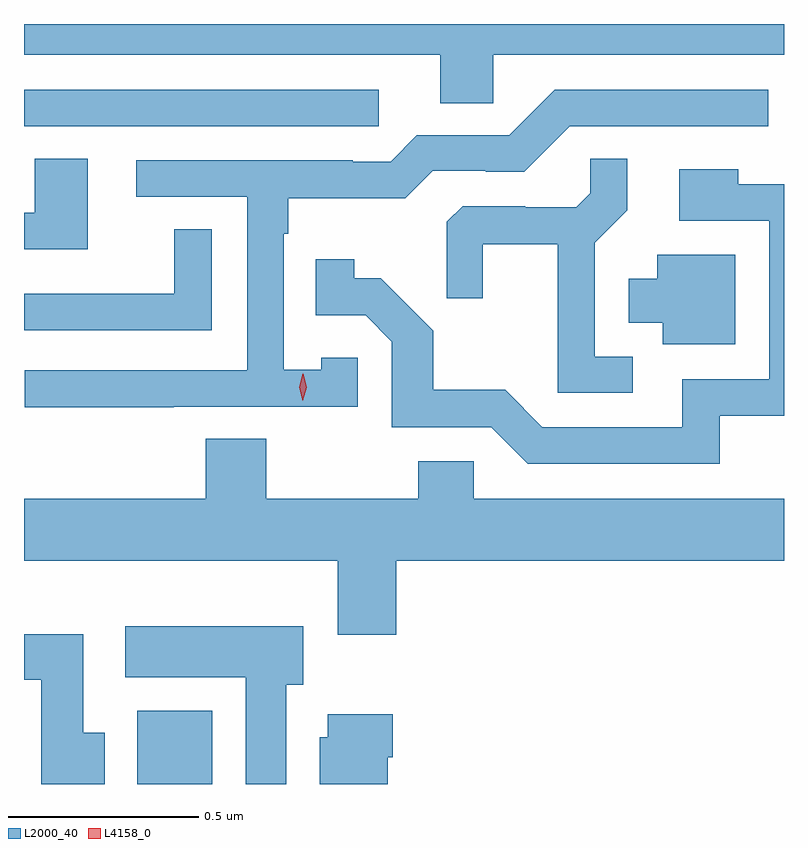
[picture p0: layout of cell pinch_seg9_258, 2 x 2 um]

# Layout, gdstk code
import gdstk
lib = gdstk.Library(unit=1e-6, precision=1e-09)
def R(c, l, rs):  # rectangles x0, y0, x1, y1
    for r in rs: c.add(gdstk.rectangle(r[:2], r[2:], *l))
def P(c, l, *ps):  # polygons
    for p in ps: c.add(gdstk.Polygon(p, *l))
L2000_40 = (2000, 40)
L4158_0 = (4158, 0)

pinch_seg9_258 = lib.new_cell('pinch_seg9_258')
R(pinch_seg9_258, L2000_40, [(483.413,1237.125,483.61,1237.318), (483.115,1238.856,484.048,1238.952)])
P(pinch_seg9_258, L2000_40, [(484.35,1239.044),(485.115,1239.044),(485.115,1239.125),(483.115,1239.125),(483.115,1239.044),(484.211,1239.044),(484.211,1238.917),(484.35,1238.917)],
  [(483.509,1238.118),(483.993,1238.118),(483.993,1238.247),(483.897,1238.247),(483.897,1238.215),(483.798,1238.215),(483.798,1238.573),(483.811,1238.573),(483.811,1238.666),(484.118,1238.666),(484.191,1238.739),(484.33,1238.739),(484.33,1238.736),(484.431,1238.736),(484.551,1238.856),(485.074,1238.856),(485.074,1238.952),(484.512,1238.952),(484.392,1238.832),(484.149,1238.832),(484.08,1238.763),(483.98,1238.763),(483.98,1238.766),(483.411,1238.766),(483.411,1238.67),(483.702,1238.67),(483.702,1238.214),(483.117,1238.214),(483.117,1238.116),(483.509,1238.116)],
  [(483.283,1238.771),(483.143,1238.771),(483.143,1238.628),(483.115,1238.628),(483.115,1238.532),(483.283,1238.532)],
  [(484.717,1238.25),(484.617,1238.25),(484.617,1238.549),(484.703,1238.635),(484.703,1238.771),(484.605,1238.771),(484.605,1238.68),(484.568,1238.643),(484.434,1238.643),(484.434,1238.646),(484.269,1238.646),(484.228,1238.605),(484.228,1238.403),(484.322,1238.403),(484.322,1238.546),(484.52,1238.546),(484.52,1238.154),(484.717,1238.154)],
  [(484.946,1238.094),(485.115,1238.094),(485.115,1238.703),(484.995,1238.703),(484.995,1238.743),(484.839,1238.743),(484.839,1238.607),(485.076,1238.607),(485.076,1238.19),(484.847,1238.19),(484.847,1238.064),(484.479,1238.064),(484.381,1238.163),(484.192,1238.163),(484.192,1238.318),(484.054,1238.456),(483.984,1238.456),(483.984,1238.506),(483.883,1238.506),(483.883,1238.358),(484.014,1238.358),(484.083,1238.289),(484.083,1238.064),(484.344,1238.064),(484.44,1237.968),(484.946,1237.968)],
  [(483.609,1238.585),(483.511,1238.585),(483.511,1238.415),(483.115,1238.415),(483.115,1238.319),(483.609,1238.319)],
  [(484.987,1238.518),(484.781,1238.518),(484.781,1238.455),(484.706,1238.455),(484.706,1238.339),(484.796,1238.339),(484.796,1238.282),(484.987,1238.282)],
  [(484.094,1237.712),(485.115,1237.712),(485.115,1237.876),(484.299,1237.876),(484.299,1237.974),(484.153,1237.974),(484.153,1237.876),(483.753,1237.876),(483.753,1238.033),(483.593,1238.033),(483.593,1237.876),(483.115,1237.876),(483.115,1237.712),(483.941,1237.712),(483.941,1237.518),(484.094,1237.518)],
  [(483.805,1237.386),(483.85,1237.386),(483.85,1237.54),(483.381,1237.54),(483.381,1237.406),(483.698,1237.406),(483.698,1237.125),(483.805,1237.125)],
  [(483.328,1237.26),(483.271,1237.26),(483.271,1237.519),(483.115,1237.519),(483.115,1237.4),(483.161,1237.4),(483.161,1237.125),(483.328,1237.125)],
  [(484.072,1237.196),(484.085,1237.196),(484.085,1237.309),(483.914,1237.309),(483.914,1237.248),(483.893,1237.248),(483.893,1237.125),(484.072,1237.125)])
P(pinch_seg9_258, L4158_0, [(483.848,1238.133),(483.848,1238.134),(483.839,1238.169),(483.849,1238.205),(483.849,1238.205),(483.85,1238.205),(483.859,1238.169),(483.849,1238.134)])

lib.write_gds('pinch_seg9_258.gds')
